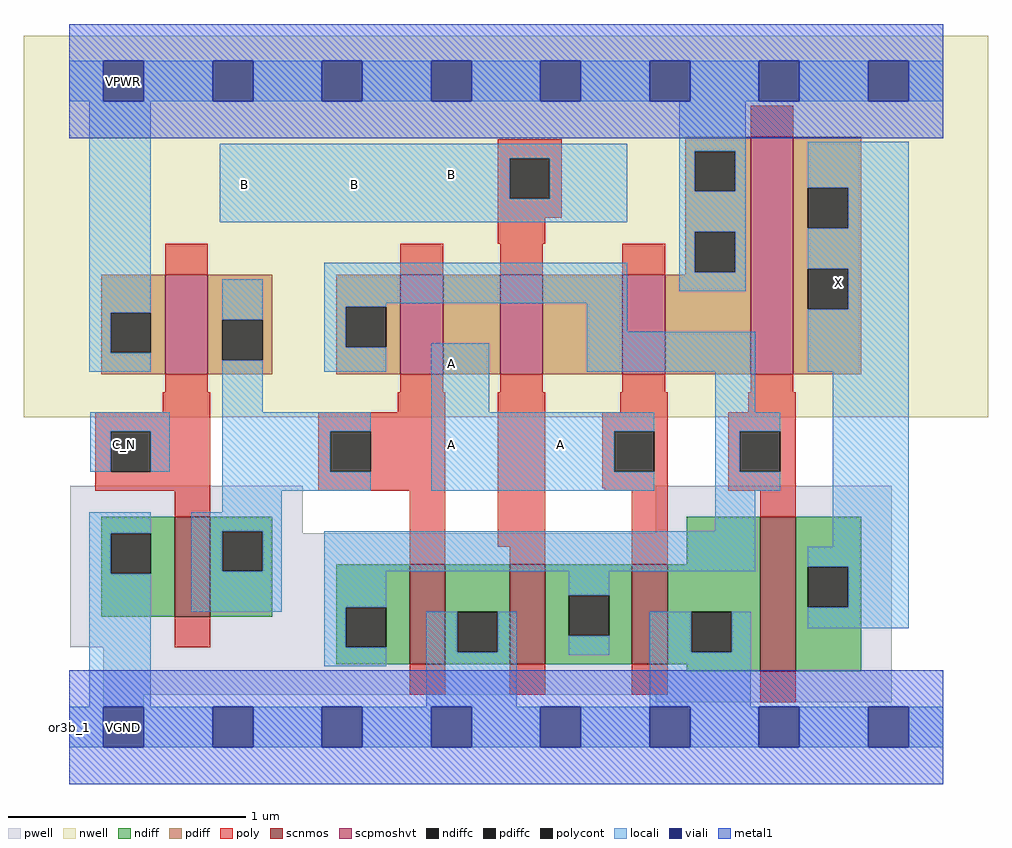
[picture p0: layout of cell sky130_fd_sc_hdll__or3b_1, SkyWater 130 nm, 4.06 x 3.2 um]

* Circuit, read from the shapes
.subckt sky130_fd_sc_hdll__or3b_1 A B C_N VGND VNB VPB VPWR X
XM1 n1 C_N VGND VNB sky130_fd_pr__nfet_01v8 w=0.42 l=0.15
XM2 VGND n1 n2 VNB sky130_fd_pr__nfet_01v8 w=0.42 l=0.15
XM3 n2 B VGND VNB sky130_fd_pr__nfet_01v8 w=0.42 l=0.15
XM4 VGND A n2 VNB sky130_fd_pr__nfet_01v8 w=0.42 l=0.15
XM5 X n2 VGND VNB sky130_fd_pr__nfet_01v8 w=0.65 l=0.15
XM6 n1 C_N VPWR VPB sky130_fd_pr__pfet_01v8_hvt w=0.42 l=0.18
XM7 n3 n1 n2 VPB sky130_fd_pr__pfet_01v8_hvt w=0.42 l=0.18
XM8 n4 B n3 VPB sky130_fd_pr__pfet_01v8_hvt w=0.42 l=0.18
XM9 VPWR A n4 VPB sky130_fd_pr__pfet_01v8_hvt w=0.42 l=0.18
XM10 X n2 VPWR VPB sky130_fd_pr__pfet_01v8_hvt w=1 l=0.18
.ends

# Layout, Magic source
magic
tech sky130A
magscale 1 2
<< nwell >>
rect -38 261 774 582
<< pwell >>
rect 1 163 197 203
rect 494 163 693 203
rect 1 67 693 163
rect 29 27 693 67
rect 29 -17 63 27
rect 494 21 693 27
<< scnmos >>
rect 89 93 119 177
rect 287 53 317 137
rect 371 53 401 137
rect 474 53 504 137
rect 582 47 612 177
<< scpmoshvt >>
rect 81 297 117 381
rect 279 297 315 381
rect 363 297 399 381
rect 466 297 502 381
rect 574 297 610 497
<< ndiff >>
rect 27 163 89 177
rect 27 129 35 163
rect 69 129 89 163
rect 27 93 89 129
rect 119 165 171 177
rect 119 131 129 165
rect 163 131 171 165
rect 520 137 582 177
rect 119 93 171 131
rect 225 101 287 137
rect 225 67 233 101
rect 267 67 287 101
rect 225 53 287 67
rect 317 97 371 137
rect 317 63 327 97
rect 361 63 371 97
rect 317 53 371 63
rect 401 111 474 137
rect 401 77 421 111
rect 455 77 474 111
rect 401 53 474 77
rect 504 97 582 137
rect 504 63 524 97
rect 558 63 582 97
rect 504 53 582 63
rect 520 47 582 53
rect 612 135 667 177
rect 612 101 622 135
rect 656 101 667 135
rect 612 47 667 101
<< pdiff >>
rect 519 485 574 497
rect 519 451 527 485
rect 561 451 574 485
rect 519 417 574 451
rect 519 383 527 417
rect 561 383 574 417
rect 519 381 574 383
rect 27 349 81 381
rect 27 315 35 349
rect 69 315 81 349
rect 27 297 81 315
rect 117 343 171 381
rect 117 309 129 343
rect 163 309 171 343
rect 117 297 171 309
rect 225 354 279 381
rect 225 320 233 354
rect 267 320 279 354
rect 225 297 279 320
rect 315 297 363 381
rect 399 297 466 381
rect 502 297 574 381
rect 610 454 667 497
rect 610 420 622 454
rect 656 420 667 454
rect 610 386 667 420
rect 610 352 622 386
rect 656 352 667 386
rect 610 297 667 352
<< ndiffc >>
rect 35 129 69 163
rect 129 131 163 165
rect 233 67 267 101
rect 327 63 361 97
rect 421 77 455 111
rect 524 63 558 97
rect 622 101 656 135
<< pdiffc >>
rect 527 451 561 485
rect 527 383 561 417
rect 35 315 69 349
rect 129 309 163 343
rect 233 320 267 354
rect 622 420 656 454
rect 622 352 656 386
<< poly >>
rect 574 497 610 523
rect 361 479 415 495
rect 361 445 371 479
rect 405 445 415 479
rect 361 429 415 445
rect 361 407 401 429
rect 81 381 117 407
rect 279 381 315 407
rect 363 381 399 407
rect 466 381 502 407
rect 81 282 117 297
rect 279 282 315 297
rect 363 282 399 297
rect 466 282 502 297
rect 574 282 610 297
rect 79 265 119 282
rect 277 265 317 282
rect 22 249 119 265
rect 22 215 35 249
rect 69 215 119 249
rect 22 199 119 215
rect 210 249 317 265
rect 210 215 220 249
rect 254 215 317 249
rect 210 199 317 215
rect 89 177 119 199
rect 287 137 317 199
rect 361 152 401 282
rect 464 265 504 282
rect 572 265 612 282
rect 449 249 504 265
rect 449 215 459 249
rect 493 215 504 249
rect 449 201 504 215
rect 451 199 504 201
rect 555 249 612 265
rect 555 215 565 249
rect 599 215 612 249
rect 555 199 612 215
rect 371 137 401 152
rect 474 137 504 199
rect 582 177 612 199
rect 89 67 119 93
rect 287 27 317 53
rect 371 27 401 53
rect 474 27 504 53
rect 582 21 612 47
<< polycont >>
rect 371 445 405 479
rect 35 215 69 249
rect 220 215 254 249
rect 459 215 493 249
rect 565 215 599 249
<< locali >>
rect 0 527 29 561
rect 63 527 121 561
rect 155 527 213 561
rect 247 527 305 561
rect 339 527 397 561
rect 431 527 489 561
rect 523 527 581 561
rect 615 527 673 561
rect 707 527 736 561
rect 17 349 69 527
rect 127 479 470 491
rect 127 445 371 479
rect 405 445 470 479
rect 127 425 470 445
rect 514 485 570 527
rect 514 451 527 485
rect 561 451 570 485
rect 514 417 570 451
rect 17 315 35 349
rect 17 299 69 315
rect 129 343 163 377
rect 129 265 163 309
rect 215 357 470 391
rect 514 383 527 417
rect 561 383 570 417
rect 514 367 570 383
rect 622 454 707 493
rect 656 420 707 454
rect 622 386 707 420
rect 215 354 267 357
rect 215 320 233 354
rect 436 333 470 357
rect 656 352 707 386
rect 215 299 267 320
rect 305 265 354 323
rect 436 299 578 333
rect 622 299 707 352
rect 544 265 578 299
rect 18 249 85 265
rect 18 215 35 249
rect 69 215 85 249
rect 129 249 254 265
rect 129 215 220 249
rect 129 199 254 215
rect 305 249 493 265
rect 305 215 459 249
rect 305 199 493 215
rect 544 249 599 265
rect 544 215 565 249
rect 544 199 599 215
rect 129 181 179 199
rect 17 163 69 181
rect 17 129 35 163
rect 17 17 69 129
rect 103 165 179 181
rect 544 165 578 199
rect 103 131 129 165
rect 163 131 179 165
rect 103 97 179 131
rect 215 131 578 165
rect 643 152 707 299
rect 622 135 707 152
rect 215 101 267 131
rect 215 67 233 101
rect 421 111 455 131
rect 215 51 267 67
rect 301 63 327 97
rect 361 63 377 97
rect 301 17 377 63
rect 656 101 707 135
rect 421 61 455 77
rect 489 63 524 97
rect 558 63 574 97
rect 622 83 707 101
rect 489 17 574 63
rect 0 -17 29 17
rect 63 -17 121 17
rect 155 -17 213 17
rect 247 -17 305 17
rect 339 -17 397 17
rect 431 -17 489 17
rect 523 -17 581 17
rect 615 -17 673 17
rect 707 -17 736 17
<< viali >>
rect 29 527 63 561
rect 121 527 155 561
rect 213 527 247 561
rect 305 527 339 561
rect 397 527 431 561
rect 489 527 523 561
rect 581 527 615 561
rect 673 527 707 561
rect 29 -17 63 17
rect 121 -17 155 17
rect 213 -17 247 17
rect 305 -17 339 17
rect 397 -17 431 17
rect 489 -17 523 17
rect 581 -17 615 17
rect 673 -17 707 17
<< metal1 >>
rect 0 561 736 592
rect 0 527 29 561
rect 63 527 121 561
rect 155 527 213 561
rect 247 527 305 561
rect 339 527 397 561
rect 431 527 489 561
rect 523 527 581 561
rect 615 527 673 561
rect 707 527 736 561
rect 0 496 736 527
rect 0 17 736 48
rect 0 -17 29 17
rect 63 -17 121 17
rect 155 -17 213 17
rect 247 -17 305 17
rect 339 -17 397 17
rect 431 -17 489 17
rect 523 -17 581 17
rect 615 -17 673 17
rect 707 -17 736 17
rect 0 -48 736 -17
<< labels >>
flabel locali s 305 289 339 323 0 FreeSans 400 0 0 0 A
port 1 nsew signal input
flabel locali s 414 238 414 238 0 FreeSans 400 0 0 0 A
port 1 nsew
flabel locali s 30 221 64 255 0 FreeSans 400 0 0 0 C_N
port 3 nsew signal input
flabel locali s 631 357 665 391 0 FreeSans 200 0 0 0 X
port 8 nsew signal output
flabel locali s 305 221 339 255 0 FreeSans 400 0 0 0 A
port 1 nsew
flabel locali s 223 440 257 474 0 FreeSans 400 0 0 0 B
port 2 nsew signal input
flabel locali s 131 440 165 474 0 FreeSans 400 0 0 0 B
port 2 nsew signal input
flabel locali s 322 465 322 465 0 FreeSans 400 0 0 0 B
port 2 nsew
flabel metal1 s 29 -17 63 17 0 FreeSans 200 0 0 0 VGND
port 4 nsew ground bidirectional
flabel metal1 s 29 527 63 561 0 FreeSans 200 0 0 0 VPWR
port 7 nsew power bidirectional
flabel nwell s 29 527 63 561 0 FreeSans 200 0 0 0 VPB
port 6 nsew power bidirectional
flabel pwell s 29 -17 63 17 0 FreeSans 200 0 0 0 VNB
port 5 nsew ground bidirectional
rlabel comment s 0 0 0 0 4 or3b_1
<< properties >>
string LEFsite unithd
string LEFclass CORE
string FIXED_BBOX 0 0 736 544
string GDS_FILE $PDKPATH/libs.ref/sky130_fd_sc_hdll/gds/sky130_fd_sc_hdll.gds
string LEFsymmetry X Y R90
string GDS_END 1421108
string GDS_START 1414662
string LEFproperties maskLayoutSubType "abstract" prCellType "standard" originalViewName "layout"
<< end >>
